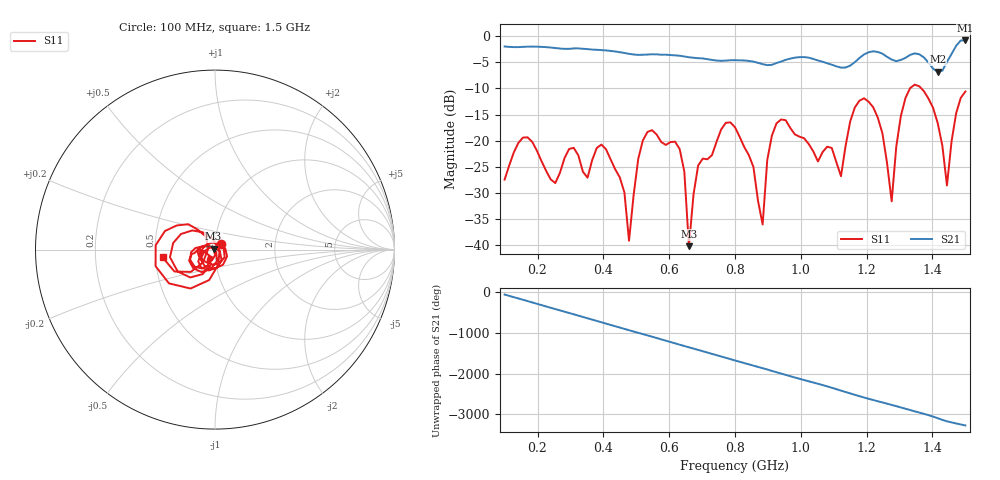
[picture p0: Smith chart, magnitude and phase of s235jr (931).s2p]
! NanoVNA-App
! Date: 2025-09-25 15:11:25
! Start: 100MHz Stop: 1,5GHz Points: 101
! S-Parameter data: F S11 S21 S12 S22
# Hz S RI R 50
!  Frequency  S11_Real  S11_Imag  S21_Real  S21_Imag  S12_Real  S12_Imag  S22_Real  S22_Imag
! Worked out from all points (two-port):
!   101 points, 100 MHz to 1.5 GHz, reference 50 ohm
!   highest |S21| = -0.81 dB at 1.5 GHz (marker M1); lowest = -6.8 dB at 1.416 GHz (marker M2)
!   |S21| within 3 dB of the highest: start of sweep to 639.5 MHz; 1.185 GHz to 1.259 GHz (73.22 MHz wide, 5.99 % of centre) (the widest 2 of 4)
!   lowest |S11| = -40.2 dB at 660 MHz (marker M3), VSWR 1.02, Z = 49.2 + j0.557 ohm
!   |S11| at or under -10 dB: start of sweep to 1.332 GHz; 1.366 GHz to end of sweep
!   S12 and S22 are empty: the file has one direction only
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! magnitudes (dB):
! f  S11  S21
! 100 MHz  -27.5  -2.0
! 156 MHz  -19.4  -2.0
! 338 MHz  -26.0  -2.4
! 408 MHz  -21.6  -2.7
! 478 MHz  -39.2  -3.4
! 520 MHz  -20.0  -3.6
! 576 MHz  -20.3  -3.5
! 632 MHz  -21.6  -3.7
! 660 MHz  -40.2  -4.0
! 688 MHz  -24.8  -4.2
! 800 MHz  -17.4  -4.6
! 884 MHz  -36.1  -5.3
! 926 MHz  -16.7  -5.1
! 1.038 GHz  -22.1  -4.4
! 1.122 GHz  -26.8  -6.0
! 1.192 GHz  -11.9  -3.5
! 1.248 GHz  -18.6  -3.4
! 1.276 GHz  -31.6  -4.5
! 1.332 GHz  -9.9  -3.6
! 1.416 GHz  -16.7  -6.8
! 1.444 GHz  -28.6  -4.9
! 1.5 GHz  -10.6  -0.8
